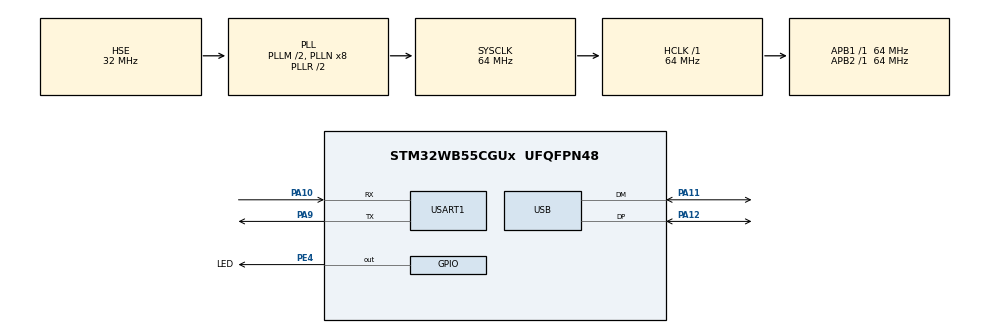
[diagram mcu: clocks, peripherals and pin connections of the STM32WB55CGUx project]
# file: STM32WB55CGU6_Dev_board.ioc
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Mcu.Family=STM32WB
Mcu.Name=STM32WB55CGUx
Mcu.Package=UFQFPN48
NVIC.HSEM_IRQn=true\:6\:0\:true\:false\:true\:true\:true\:true
NVIC.IPCC_C1_RX_IRQn=true\:6\:0\:true\:false\:true\:true\:true\:true
NVIC.IPCC_C1_TX_IRQn=true\:6\:0\:true\:false\:true\:true\:true\:true
NVIC.PriorityGroup=NVIC_PRIORITYGROUP_4
NVIC.RTC_WKUP_IRQn=true\:0\:0\:false\:false\:true\:true\:true\:true
NVIC.TIM1_TRG_COM_TIM17_IRQn=true\:15\:0\:false\:false\:true\:true\:true\:true
NVIC.TimeBase=TIM1_TRG_COM_TIM17_IRQn
NVIC.TimeBaseIP=TIM17
NVIC.USB_LP_IRQn=true\:0\:0\:false\:false\:true\:true\:true\:true
OSC_IN.Mode=HSE-External-Oscillator
OSC_IN.Signal=RCC_OSC_IN
OSC_OUT.Mode=HSE-External-Oscillator
OSC_OUT.Signal=RCC_OSC_OUT
PA10.Mode=Asynchronous
PA10.Signal=USART1_RX
PA11.Mode=Device
PA11.Signal=USB_DM
PA12.Mode=Device
PA12.Signal=USB_DP
PA13.Mode=Serial_Wire
PA13.Signal=SYS_JTMS-SWDIO
PA14.Mode=Serial_Wire
PA14.Signal=SYS_JTCK-SWCLK
PA9.Mode=Asynchronous
PA9.Signal=USART1_TX
PC14-OSC32_IN.Mode=LSE-External-Oscillator
PC14-OSC32_IN.Signal=RCC_OSC32_IN
PC15-OSC32_OUT.Mode=LSE-External-Oscillator
PC15-OSC32_OUT.Signal=RCC_OSC32_OUT
PE4.GPIO_Label=LED
PE4.Signal=GPIO_Output
ProjectManager.HeapSize=0x200
ProjectManager.StackSize=0x400
ProjectManager.TargetToolchain=EWARM V9.20
RCC.ADCFreq_Value=48000000
RCC.AHB2CLKDivider=RCC_SYSCLK_DIV2
RCC.AHBFreq_Value=64000000
RCC.APB1Freq_Value=64000000
RCC.APB1TimFreq_Value=64000000
RCC.APB2Freq_Value=64000000
RCC.APB2TimFreq_Value=64000000
RCC.APB3Freq_Value=16000000
RCC.CK48CLockSelection=RCC_USBCLKSOURCE_HSI48
RCC.CortexFreq_Value=64000000
RCC.HCLKFreq_Value=64000000
RCC.HSE_VALUE=32000000
RCC.HSI48_VALUE=48000000
RCC.HSI_VALUE=16000000
RCC.PLLM=RCC_PLLM_DIV2
RCC.PLLSAI1N=6
RCC.PLLSourceVirtual=RCC_PLLSOURCE_HSE
RCC.RTCClockSelection=RCC_RTCCLKSOURCE_LSE
RCC.SMPSCLockSelection=RCC_SMPSCLKSOURCE_HSE
RCC.SYSCLKFreq_VALUE=64000000
RCC.SYSCLKSource=RCC_SYSCLKSOURCE_PLLCLK
RCC.USBFreq_Value=48000000
RCC.VCOOutputFreq_Value=128000000
RF1.Mode=RF1_Activate
RF1.Signal=RF_RF1
STM32_WPAN.ADV_FILTER=NO_WHITE_LIST_USE
STM32_WPAN.AD_SERVICE_CLASS_UUID_1=18 12
STM32_WPAN.AD_SERVICE_CLASS_UUID_1_INV=[12, 18]
STM32_WPAN.AD_SERVICE_CLASS_UUID_2=18 0A
STM32_WPAN.AD_SERVICE_CLASS_UUID_2_INV=[0A, 18]
STM32_WPAN.AD_SERVICE_CLASS_UUID_3=18 0F
STM32_WPAN.AD_SERVICE_CLASS_UUID_3_INV=[0F, 18]
STM32_WPAN.AD_SERVICE_CLASS_UUID_4=12 34
STM32_WPAN.AD_SERVICE_CLASS_UUID_4_INV=[34, 12]
STM32_WPAN.AD_SERVICE_CLASS_UUID_NBR=4
STM32_WPAN.AD_TYPE_128_BIT_SERV_UUID_CMPLT_LIST=12,34,56,78,90,11,11,11,11,11,11,11,11,11,11,11
STM32_WPAN.AD_TYPE_128_BIT_SERV_UUID_CMPLT_LIST_INV=[11, 11, 11, 11, 11, 11, 11, 11, 11, 11, 11, 90, 78, 56, 34, 12]
STM32_WPAN.AD_TYPE_APPEARANCE=0x03, 0x00 /* GENERIC_THERMOMETER_APPEARANCE */
STM32_WPAN.BLE_APPLICATION_TYPE=BLE_SERVER_PROFILE
STM32_WPAN.BLE_DBG_APP_EN=1
STM32_WPAN.CFG_ADV_BD_ADDRESS=0x11aabbccddef
STM32_WPAN.CFG_BLE_ATT_VALUE_ARRAY_SIZE=1600
STM32_WPAN.CFG_BLE_MAX_TX_POWER=6
STM32_WPAN.CFG_BLE_MIN_TX_POWER=-40
STM32_WPAN.CFG_BLE_NUM_GATT_ATTRIBUTES=90
STM32_WPAN.CFG_BONDING_MODE=1
STM32_WPAN.CFG_CONSOLE_MENU=No UART selected
STM32_WPAN.CFG_DEBUGGER_SUPPORTED=1
STM32_WPAN.CFG_DEBUG_APP_TRACE=1
STM32_WPAN.CFG_DEBUG_TRACE_FULL=0
STM32_WPAN.CFG_DEBUG_TRACE_LIGHT=1
STM32_WPAN.CFG_DEBUG_TRACE_UART=hw_uart1
STM32_WPAN.CFG_GAP_DEVICE_NAME=Joystick 3.0
STM32_WPAN.CFG_GAP_DEVICE_NAME_LENGTH=12
STM32_WPAN.CFG_HW_RESET_BY_FW=0
STM32_WPAN.CFG_HW_USART1_ENABLED=1
STM32_WPAN.CFG_IDENTITY_ADDRESS=GAP_STATIC_RANDOM_ADDR
STM32_WPAN.CFG_IO_CAPABILITY=CFG_IO_CAPABILITY_DISPLAY_ONLY
STM32_WPAN.CFG_KEYPRESS_NOTIFICATION_SUPPORT=CFG_KEYPRESS_NOT_SUPPORTED
STM32_WPAN.CFG_LPM_SUPPORTED=1
STM32_WPAN.CFG_LSCLK_LSE=0
STM32_WPAN.CFG_SC_SUPPORT=CFG_SECURE_NOT_SUPPORTED
STM32_WPAN.CFG_USE_SMPS=0
STM32_WPAN.CUSTOM_P2P_SERVER=Disabled
STM32_WPAN.CUSTOM_TEMPLATE=Enabled
STM32_WPAN.INCLUDE_AD_TYPE_128_BIT_SERV_UUID_CMPLT_LIST=0
STM32_WPAN.INCLUDE_AD_TYPE_16_BIT_SERV_UUID_CMPLT_LIST=1
STM32_WPAN.INCLUDE_AD_TYPE_APPEARANCE=1
STM32_WPAN.NUMBER_OF_SERVICES=4
STM32_WPAN.PAIRING_PARAMETERS=ON
STM32_WPAN.SERVICE1_CHAR1_LENGTH_CHARACTERISTIC=CHAR_VALUE_LEN_VARIABLE
STM32_WPAN.SERVICE1_CHAR1_LONG_NAME=Transmit_to_phone
STM32_WPAN.SERVICE1_CHAR1_PROP_NOTIFY=CHAR_PROP_NOTIFY
STM32_WPAN.SERVICE1_CHAR1_PROP_READ=CHAR_PROP_READ
STM32_WPAN.SERVICE1_CHAR1_SHORT_NAME=TX_out
STM32_WPAN.SERVICE1_CHAR1_UUID=FF E1
STM32_WPAN.SERVICE1_CHAR1_UUID_TYPE=0x01
STM32_WPAN.SERVICE1_CHAR1_VALUE_LENGTH=256
STM32_WPAN.SERVICE1_CHAR2_LENGTH_CHARACTERISTIC=CHAR_VALUE_LEN_VARIABLE
STM32_WPAN.SERVICE1_CHAR2_LONG_NAME=Receive_from_phone
STM32_WPAN.SERVICE1_CHAR2_PROP_WRITE_WITHOUT_RESP=CHAR_PROP_WRITE_WITHOUT_RESP
STM32_WPAN.SERVICE1_CHAR2_SHORT_NAME=RX_in
STM32_WPAN.SERVICE1_CHAR2_UUID=FF E2
STM32_WPAN.SERVICE1_CHAR2_UUID_TYPE=0x01
STM32_WPAN.SERVICE1_CHAR2_VALUE_LENGTH=256
STM32_WPAN.SERVICE1_LONG_NAME=IO_COM
STM32_WPAN.SERVICE1_NUMBER_OF_CHARACTERISTICS=2
STM32_WPAN.SERVICE1_SHORT_NAME=COM
STM32_WPAN.SERVICE1_UUID=FF E0
STM32_WPAN.SERVICE1_UUID_TYPE=0x01
STM32_WPAN.SERVICE2_CHAR1_GATT_NOTIFY_ATTRIBUTE_WRITE=\ 
STM32_WPAN.SERVICE2_CHAR1_GATT_NOTIFY_READ_REQ_AND_WAIT_FOR_APPL_RESP=\ 
STM32_WPAN.SERVICE2_CHAR1_GATT_NOTIFY_WRITE_REQ_AND_WAIT_FOR_APPL_RESP=\ 
STM32_WPAN.SERVICE2_CHAR1_LONG_NAME=Report_map
STM32_WPAN.SERVICE2_CHAR1_PROP_READ=CHAR_PROP_READ
STM32_WPAN.SERVICE2_CHAR1_SHORT_NAME=RMAP
STM32_WPAN.SERVICE2_CHAR1_UUID=2A 4B
STM32_WPAN.SERVICE2_CHAR1_UUID_TYPE=0x01
STM32_WPAN.SERVICE2_CHAR1_VALUE_LENGTH=44
STM32_WPAN.SERVICE2_CHAR2_GATT_NOTIFY_ATTRIBUTE_WRITE=\ 
STM32_WPAN.SERVICE2_CHAR2_GATT_NOTIFY_READ_REQ_AND_WAIT_FOR_APPL_RESP=\ 
STM32_WPAN.SERVICE2_CHAR2_GATT_NOTIFY_WRITE_REQ_AND_WAIT_FOR_APPL_RESP=\ 
STM32_WPAN.SERVICE2_CHAR2_LONG_NAME=Report
STM32_WPAN.SERVICE2_CHAR2_PROP_NOTIFY=CHAR_PROP_NOTIFY
STM32_WPAN.SERVICE2_CHAR2_PROP_READ=CHAR_PROP_READ
STM32_WPAN.SERVICE2_CHAR2_PROP_WRITE=CHAR_PROP_WRITE
STM32_WPAN.SERVICE2_CHAR2_SHORT_NAME=Rep
STM32_WPAN.SERVICE2_CHAR2_UUID=2A 4D
STM32_WPAN.SERVICE2_CHAR2_UUID_TYPE=0x01
STM32_WPAN.SERVICE2_CHAR2_VALUE_LENGTH=5
STM32_WPAN.SERVICE2_CHAR3_GATT_NOTIFY_ATTRIBUTE_WRITE=\ 
STM32_WPAN.SERVICE2_CHAR3_GATT_NOTIFY_READ_REQ_AND_WAIT_FOR_APPL_RESP=\ 
STM32_WPAN.SERVICE2_CHAR3_GATT_NOTIFY_WRITE_REQ_AND_WAIT_FOR_APPL_RESP=\ 
STM32_WPAN.SERVICE2_CHAR3_LONG_NAME=HID_Information
STM32_WPAN.SERVICE2_CHAR3_PROP_READ=CHAR_PROP_READ
STM32_WPAN.SERVICE2_CHAR3_SHORT_NAME=INF
STM32_WPAN.SERVICE2_CHAR3_UUID=2A 4A
STM32_WPAN.SERVICE2_CHAR3_UUID_TYPE=0x01
STM32_WPAN.SERVICE2_CHAR3_VALUE_LENGTH=4
STM32_WPAN.SERVICE2_CHAR4_GATT_NOTIFY_ATTRIBUTE_WRITE=\ 
STM32_WPAN.SERVICE2_CHAR4_GATT_NOTIFY_READ_REQ_AND_WAIT_FOR_APPL_RESP=\ 
STM32_WPAN.SERVICE2_CHAR4_GATT_NOTIFY_WRITE_REQ_AND_WAIT_FOR_APPL_RESP=\ 
STM32_WPAN.SERVICE2_CHAR4_LONG_NAME=HID_Control_Point
STM32_WPAN.SERVICE2_CHAR4_PROP_WRITE_WITHOUT_RESP=CHAR_PROP_WRITE_WITHOUT_RESP
STM32_WPAN.SERVICE2_CHAR4_SHORT_NAME=CP
STM32_WPAN.SERVICE2_CHAR4_UUID=2A 4C
STM32_WPAN.SERVICE2_CHAR4_UUID_TYPE=0x01
STM32_WPAN.SERVICE2_LONG_NAME=Human_Interface_Device
STM32_WPAN.SERVICE2_NUMBER_OF_CHARACTERISTICS=4
STM32_WPAN.SERVICE2_SHORT_NAME=HID
STM32_WPAN.SERVICE2_UUID=18 12
STM32_WPAN.SERVICE2_UUID_TYPE=0x01
STM32_WPAN.SERVICE3_CHAR1_GATT_NOTIFY_ATTRIBUTE_WRITE=\ 
STM32_WPAN.SERVICE3_CHAR1_GATT_NOTIFY_READ_REQ_AND_WAIT_FOR_APPL_RESP=\ 
STM32_WPAN.SERVICE3_CHAR1_GATT_NOTIFY_WRITE_REQ_AND_WAIT_FOR_APPL_RESP=\ 
STM32_WPAN.SERVICE3_CHAR1_LENGTH_CHARACTERISTIC=CHAR_VALUE_LEN_VARIABLE
STM32_WPAN.SERVICE3_CHAR1_LONG_NAME=Manufacturer_Name_String
STM32_WPAN.SERVICE3_CHAR1_PROP_READ=CHAR_PROP_READ
STM32_WPAN.SERVICE3_CHAR1_SHORT_NAME=MNF
STM32_WPAN.SERVICE3_CHAR1_UUID=2A 29
STM32_WPAN.SERVICE3_CHAR1_UUID_TYPE=0x01
STM32_WPAN.SERVICE3_CHAR1_VALUE_LENGTH=20
STM32_WPAN.SERVICE3_CHAR2_LONG_NAME=Device_name
STM32_WPAN.SERVICE3_CHAR2_UUID=2A 00
STM32_WPAN.SERVICE3_CHAR2_UUID_TYPE=0x01
STM32_WPAN.SERVICE3_LONG_NAME=Device_information
STM32_WPAN.SERVICE3_NUMBER_OF_CHARACTERISTICS=1
STM32_WPAN.SERVICE3_SHORT_NAME=DIS
STM32_WPAN.SERVICE3_UUID=18 0A
STM32_WPAN.SERVICE3_UUID_TYPE=0x01
STM32_WPAN.SERVICE4_CHAR1_GATT_NOTIFY_ATTRIBUTE_WRITE=\ 
STM32_WPAN.SERVICE4_CHAR1_GATT_NOTIFY_READ_REQ_AND_WAIT_FOR_APPL_RESP=\ 
STM32_WPAN.SERVICE4_CHAR1_GATT_NOTIFY_WRITE_REQ_AND_WAIT_FOR_APPL_RESP=\ 
STM32_WPAN.SERVICE4_CHAR1_LONG_NAME=Battery_Level
STM32_WPAN.SERVICE4_CHAR1_PROP_NOTIFY=CHAR_PROP_NOTIFY
STM32_WPAN.SERVICE4_CHAR1_PROP_READ=CHAR_PROP_READ
STM32_WPAN.SERVICE4_CHAR1_SHORT_NAME=Bat
STM32_WPAN.SERVICE4_CHAR1_UUID=2A 19
STM32_WPAN.SERVICE4_CHAR1_UUID_TYPE=0x01
STM32_WPAN.SERVICE4_LONG_NAME=Battery_settings
STM32_WPAN.SERVICE4_SHORT_NAME=BAS
STM32_WPAN.SERVICE4_UUID=18 0F
STM32_WPAN.SERVICE4_UUID_TYPE=0x01
STMicroelectronics.X-CUBE-BLE1.7.1.0.BLE1_DEBUG=1
STMicroelectronics.X-CUBE-BLE1.7.1.0.HCI_MAX_PAYLOAD_SIZE=256
STMicroelectronics.X-CUBE-BLE1.7.1.0.HCI_READ_PACKET_SIZE=256
STMicroelectronics.X-CUBE-BLE1.7.1.0.PRINT_CSV_FORMAT=1
USART1.VirtualMode-Asynchronous=VM_ASYNC
USB_DEVICE.CLASS_NAME_FS=CDC
USB_DEVICE.VirtualMode=Cdc
USB_DEVICE.VirtualModeFS=Cdc_FS
VP_HSEM_VS_HSEM.Mode=HSEM_Activate
VP_IPCC_VS_IPCC.Mode=IPCC_Activate
VP_MEMORYMAP_VS_MEMORYMAP.Mode=CurAppReg
VP_RTC_VS_RTC_Activate.Mode=RTC_Enabled
VP_RTC_VS_RTC_WakeUp_intern.Mode=WakeUp
VP_SEQUENCER_VS_SEQUENCER.Mode=SEQUENCER_Enabled
VP_STM32_WPAN_VS_BLE_HOST.Mode=STM32_WPAN_Enabled
VP_SYS_VS_tim17.Mode=TIM17
VP_TINY_LPM_VS_TINY_LPM.Mode=TINY_LPM_Enabled
VP_USB_DEVICE_VS_USB_DEVICE_CDC_FS.Mode=CDC_FS
board=custom

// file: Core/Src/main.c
/* USER CODE BEGIN Header */
/**
  ******************************************************************************
  * @file           : main.c
  * @brief          : Main program body
  ******************************************************************************
  * @attention
  *
  * Copyright (c) 2026 STMicroelectronics.
  * All rights reserved.
  *
  * This software is licensed under terms that can be found in the LICENSE file
  * in the root directory of this software component.
  * If no LICENSE file comes with this software, it is provided AS-IS.
  *
  ******************************************************************************
  */
/* USER CODE END Header */
#include "main.h"
#include "usb_device.h"

/* USER CODE BEGIN Includes */
#include "stdbool.h"
#include "stm32wbxx_it.h"

#include "usbd_cdc_if.h"
#include "custom_stm.h"
#include "custom_app.h"

#include "BLE_services_custom.h"
/* USER CODE END Includes */

IPCC_HandleTypeDef hipcc;

RTC_HandleTypeDef hrtc;

UART_HandleTypeDef huart1;

/* USER CODE BEGIN PV */
bool test=false;
uint8_t button_test =0 ;
int16_t x_test =0;
int16_t y_test =0;
/* USER CODE END PV */

void SystemClock_Config(void);
void PeriphCommonClock_Config(void);
static void MX_GPIO_Init(void);
static void MX_IPCC_Init(void);
static void MX_RTC_Init(void);
static void MX_USART1_UART_Init(void);
static void MX_RF_Init(void);

int main(void)
{

  /* MCU Configuration--------------------------------------------------------*/

  /* Reset of all peripherals, Initializes the Flash interface and the Systick. */
  HAL_Init();
  /* Config code for STM32_WPAN (HSE Tuning must be done before system clock configuration) */
  MX_APPE_Config();

  /* Configure the system clock */
  SystemClock_Config();

  /* Configure the peripherals common clocks */
  PeriphCommonClock_Config();

  /* IPCC initialisation */
  MX_IPCC_Init();

  /* USER CODE BEGIN SysInit */
  BLE_USB_compromiss_init();
  /* USER CODE END SysInit */

  /* Initialize all configured peripherals */
  MX_GPIO_Init();
  MX_USB_Device_Init();
  MX_RTC_Init();
  MX_USART1_UART_Init();
  MX_RF_Init();

  /* Init code for STM32_WPAN */
  MX_APPE_Init();

  /* Infinite loop */
  while (1)
  {
    MX_APPE_Process();

    /* USER CODE BEGIN 3 */
      if( systick_f )
      {
          systick_f = false;
      }

      if( systick_div_100hz )
        {
            systick_div_100hz = false;
        }
        if( systick_div_50hz )
        {
            systick_div_50hz = false;
            BLE_tx_update();
        }
        if( systick_div_20hz )
        {
            systick_div_20hz = false;
        }

        if( systick_div_10hz )
        {
            systick_div_10hz = false;

        }

        if( systick_div_5hz )
        {
            systick_div_5hz = false;
        }

      if( systick_div_1hz )
      {
          systick_div_1hz = false;
          HAL_GPIO_TogglePin(LED_GPIO_Port,LED_Pin);
                                    BLE_Joystick_Send_State(x_test,y_test,button_test);
      }

  }

  /* USER CODE END 3 */
}

void SystemClock_Config(void)
{
  RCC_OscInitTypeDef RCC_OscInitStruct = {0};
  RCC_ClkInitTypeDef RCC_ClkInitStruct = {0};

  /** Configure LSE Drive Capability
  */
  HAL_PWR_EnableBkUpAccess();
  __HAL_RCC_LSEDRIVE_CONFIG(RCC_LSEDRIVE_MEDIUMHIGH);

  /** Configure the main internal regulator output voltage
  */
  __HAL_PWR_VOLTAGESCALING_CONFIG(PWR_REGULATOR_VOLTAGE_SCALE1);

  /** Initializes the RCC Oscillators according to the specified parameters
  * in the RCC_OscInitTypeDef structure.
  */
  RCC_OscInitStruct.OscillatorType = RCC_OSCILLATORTYPE_HSI48|RCC_OSCILLATORTYPE_HSI
                              |RCC_OSCILLATORTYPE_HSE|RCC_OSCILLATORTYPE_LSE;
  RCC_OscInitStruct.HSEState = RCC_HSE_ON;
  RCC_OscInitStruct.LSEState = RCC_LSE_ON;
  RCC_OscInitStruct.HSIState = RCC_HSI_ON;
  RCC_OscInitStruct.HSI48State = RCC_HSI48_ON;
  RCC_OscInitStruct.HSICalibrationValue = RCC_HSICALIBRATION_DEFAULT;
  RCC_OscInitStruct.PLL.PLLState = RCC_PLL_ON;
  RCC_OscInitStruct.PLL.PLLSource = RCC_PLLSOURCE_HSE;
  RCC_OscInitStruct.PLL.PLLM = RCC_PLLM_DIV2;
  RCC_OscInitStruct.PLL.PLLN = 8;
  RCC_OscInitStruct.PLL.PLLP = RCC_PLLP_DIV2;
  RCC_OscInitStruct.PLL.PLLR = RCC_PLLR_DIV2;
  RCC_OscInitStruct.PLL.PLLQ = RCC_PLLQ_DIV2;
  if (HAL_RCC_OscConfig(&RCC_OscInitStruct) != HAL_OK)
  {
    Error_Handler();
  }

  /** Configure the SYSCLKSource, HCLK, PCLK1 and PCLK2 clocks dividers
  */
  RCC_ClkInitStruct.ClockType = RCC_CLOCKTYPE_HCLK4|RCC_CLOCKTYPE_HCLK2
                              |RCC_CLOCKTYPE_HCLK|RCC_CLOCKTYPE_SYSCLK
                              |RCC_CLOCKTYPE_PCLK1|RCC_CLOCKTYPE_PCLK2;
  RCC_ClkInitStruct.SYSCLKSource = RCC_SYSCLKSOURCE_PLLCLK;
  RCC_ClkInitStruct.AHBCLKDivider = RCC_SYSCLK_DIV1;
  RCC_ClkInitStruct.APB1CLKDivider = RCC_HCLK_DIV1;
  RCC_ClkInitStruct.APB2CLKDivider = RCC_HCLK_DIV1;
  RCC_ClkInitStruct.AHBCLK2Divider = RCC_SYSCLK_DIV2;
  RCC_ClkInitStruct.AHBCLK4Divider = RCC_SYSCLK_DIV1;

  if (HAL_RCC_ClockConfig(&RCC_ClkInitStruct, FLASH_LATENCY_3) != HAL_OK)
  {
    Error_Handler();
  }
}

void PeriphCommonClock_Config(void)
{
  RCC_PeriphCLKInitTypeDef PeriphClkInitStruct = {0};

  /** Initializes the peripherals clock
  */
  PeriphClkInitStruct.PeriphClockSelection = RCC_PERIPHCLK_SMPS|RCC_PERIPHCLK_RFWAKEUP;
  PeriphClkInitStruct.RFWakeUpClockSelection = RCC_RFWKPCLKSOURCE_HSE_DIV1024;
  PeriphClkInitStruct.SmpsClockSelection = RCC_SMPSCLKSOURCE_HSE;
  PeriphClkInitStruct.SmpsDivSelection = RCC_SMPSCLKDIV_RANGE0;

  if (HAL_RCCEx_PeriphCLKConfig(&PeriphClkInitStruct) != HAL_OK)
  {
    Error_Handler();
  }
}

static void MX_IPCC_Init(void)
{

  hipcc.Instance = IPCC;
  if (HAL_IPCC_Init(&hipcc) != HAL_OK)
  {
    Error_Handler();
  }

}

static void MX_RF_Init(void)
{

}

static void MX_RTC_Init(void)
{

  /** Initialize RTC Only
  */
  hrtc.Instance = RTC;
  hrtc.Init.HourFormat = RTC_HOURFORMAT_24;
  hrtc.Init.AsynchPrediv = CFG_RTC_ASYNCH_PRESCALER;
  hrtc.Init.SynchPrediv = CFG_RTC_SYNCH_PRESCALER;
  hrtc.Init.OutPut = RTC_OUTPUT_DISABLE;
  hrtc.Init.OutPutPolarity = RTC_OUTPUT_POLARITY_HIGH;
  hrtc.Init.OutPutType = RTC_OUTPUT_TYPE_OPENDRAIN;
  hrtc.Init.OutPutRemap = RTC_OUTPUT_REMAP_NONE;
  if (HAL_RTC_Init(&hrtc) != HAL_OK)
  {
    Error_Handler();
  }

  /** Enable the WakeUp
  */
  if (HAL_RTCEx_SetWakeUpTimer_IT(&hrtc, 0, RTC_WAKEUPCLOCK_RTCCLK_DIV16) != HAL_OK)
  {
    Error_Handler();
  }

}

static void MX_USART1_UART_Init(void)
{

  huart1.Instance = USART1;
  huart1.Init.BaudRate = 115200;
  huart1.Init.WordLength = UART_WORDLENGTH_8B;
  huart1.Init.StopBits = UART_STOPBITS_1;
  huart1.Init.Parity = UART_PARITY_NONE;
  huart1.Init.Mode = UART_MODE_TX_RX;
  huart1.Init.HwFlowCtl = UART_HWCONTROL_NONE;
  huart1.Init.OverSampling = UART_OVERSAMPLING_8;
  huart1.Init.OneBitSampling = UART_ONE_BIT_SAMPLE_DISABLE;
  huart1.Init.ClockPrescaler = UART_PRESCALER_DIV1;
  huart1.AdvancedInit.AdvFeatureInit = UART_ADVFEATURE_NO_INIT;
  if (HAL_UART_Init(&huart1) != HAL_OK)
  {
    Error_Handler();
  }
  if (HAL_UARTEx_SetTxFifoThreshold(&huart1, UART_TXFIFO_THRESHOLD_1_8) != HAL_OK)
  {
    Error_Handler();
  }
  if (HAL_UARTEx_SetRxFifoThreshold(&huart1, UART_RXFIFO_THRESHOLD_1_8) != HAL_OK)
  {
    Error_Handler();
  }
  if (HAL_UARTEx_DisableFifoMode(&huart1) != HAL_OK)
  {
    Error_Handler();
  }

}

static void MX_GPIO_Init(void)
{
  GPIO_InitTypeDef GPIO_InitStruct = {0};

  /* GPIO Ports Clock Enable */
  __HAL_RCC_GPIOC_CLK_ENABLE();
  __HAL_RCC_GPIOA_CLK_ENABLE();
  __HAL_RCC_GPIOE_CLK_ENABLE();

  /*Configure GPIO pin Output Level */
  HAL_GPIO_WritePin(LED_GPIO_Port, LED_Pin, GPIO_PIN_RESET);

  /*Configure GPIO pin : LED_Pin */
  GPIO_InitStruct.Pin = LED_Pin;
  GPIO_InitStruct.Mode = GPIO_MODE_OUTPUT_PP;
  GPIO_InitStruct.Pull = GPIO_NOPULL;
  GPIO_InitStruct.Speed = GPIO_SPEED_FREQ_LOW;
  HAL_GPIO_Init(LED_GPIO_Port, &GPIO_InitStruct);

}

void HAL_TIM_PeriodElapsedCallback(TIM_HandleTypeDef *htim)
{
  if (htim->Instance == TIM17)
  {
    HAL_IncTick();
  }
}

void Error_Handler(void)
{
  __disable_irq();
  while (1)
  {
  }
}
